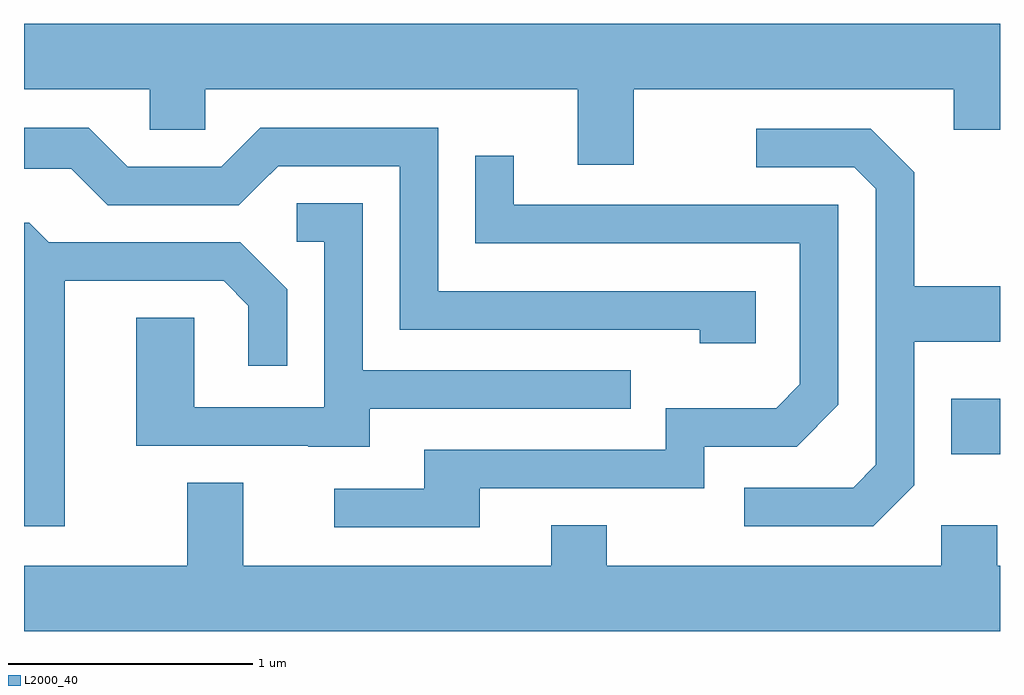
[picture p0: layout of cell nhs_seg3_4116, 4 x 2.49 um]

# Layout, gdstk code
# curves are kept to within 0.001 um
import gdstk
lib = gdstk.Library(unit=1e-6, precision=1e-09)
def R(c, l, rs):  # rectangles x0, y0, x1, y1
    for r in rs: c.add(gdstk.rectangle(r[:2], r[2:], *l))
def P(c, l, *ps):  # polygons
    for p in ps: c.add(gdstk.Polygon(p, *l))
L2000_40 = (2000, 40)

nhs_seg3_4116 = lib.new_cell('nhs_seg3_4116')
R(nhs_seg3_4116, L2000_40, [(309.411,1188.901,309.611,1189.129)])
P(nhs_seg3_4116, L2000_40, [(308.109,1190.396),(309.421,1190.396),(309.421,1190.231),(309.611,1190.231),(309.611,1190.664),(305.611,1190.664),(305.611,1190.396),(306.126,1190.396),(306.126,1190.231),(306.354,1190.231),(306.354,1190.396),(307.881,1190.396),(307.881,1190.086),(308.109,1190.086)],
  [(308.609,1189.569),(307.309,1189.569),(307.309,1190.239),(306.579,1190.239),(306.419,1190.079),(306.037,1190.079),(305.877,1190.239),(305.611,1190.239),(305.611,1190.071),(305.804,1190.071),(305.954,1189.921),(306.492,1189.921),(306.652,1190.081),(307.151,1190.081),(307.151,1189.411),(308.381,1189.411),(308.381,1189.356),(308.609,1189.356)],
  [(309.259,1188.774),(309.259,1189.361),(309.611,1189.361),(309.611,1189.589),(309.259,1189.589),(309.259,1190.057),(309.082,1190.234),(308.613,1190.234),(308.613,1190.076),(309.014,1190.076),(309.101,1189.989),(309.101,1188.857),(309.009,1188.764),(308.563,1188.764),(308.563,1188.606),(309.092,1188.606)],
  [(307.479,1188.761),(308.399,1188.761),(308.399,1188.931),(308.777,1188.931),(308.949,1189.104),(308.949,1189.924),(307.619,1189.924),(307.619,1190.123),(307.461,1190.123),(307.461,1189.766),(308.791,1189.766),(308.791,1189.187),(308.694,1189.089),(308.241,1189.089),(308.241,1188.919),(307.251,1188.919),(307.251,1188.759),(306.883,1188.759),(306.883,1188.601),(307.479,1188.601)],
  [(307.029,1189.086),(308.098,1189.086),(308.098,1189.244),(306.999,1189.244),(306.999,1189.929),(306.728,1189.929),(306.728,1189.771),(306.841,1189.771),(306.841,1189.094),(306.309,1189.094),(306.309,1189.459),(306.071,1189.459),(306.071,1188.936),(306.775,1188.936),(306.775,1188.931),(307.029,1188.931)],
  [(305.779,1189.611),(306.429,1189.611),(306.531,1189.509),(306.531,1189.263),(306.689,1189.263),(306.689,1189.577),(306.497,1189.769),(305.712,1189.769),(305.632,1189.849),(305.611,1189.849),(305.611,1188.606),(305.779,1188.606)],
  [(309.611,1188.444),(309.599,1188.444),(309.599,1188.609),(309.371,1188.609),(309.371,1188.444),(307.999,1188.444),(307.999,1188.609),(307.771,1188.609),(307.771,1188.444),(306.509,1188.444),(306.509,1188.784),(306.281,1188.784),(306.281,1188.444),(305.611,1188.444),(305.611,1188.176),(309.611,1188.176)])

lib.write_gds('nhs_seg3_4116.gds')
